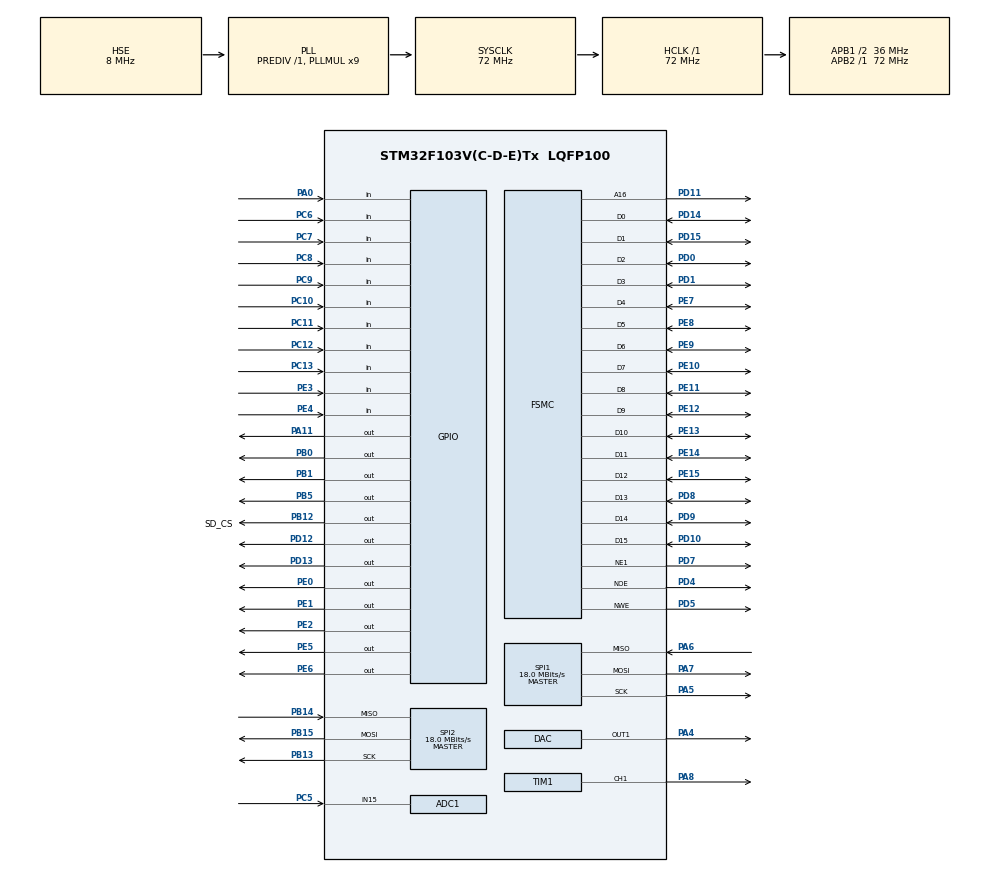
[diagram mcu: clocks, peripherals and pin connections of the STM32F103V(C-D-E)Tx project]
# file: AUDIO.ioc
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ADC1.Channel-0\#ChannelRegularConversion=ADC_CHANNEL_15
ADC1.Channel-1\#ChannelRegularConversion=ADC_CHANNEL_15
ADC1.ContinuousConvMode=ENABLE
ADC1.NbrOfConversion=2
ADC1.NbrOfConversionFlag=1
ADC1.Rank-0\#ChannelRegularConversion=1
ADC1.Rank-1\#ChannelRegularConversion=2
ADC1.SamplingTime-0\#ChannelRegularConversion=ADC_SAMPLETIME_239CYCLES_5
ADC1.SamplingTime-1\#ChannelRegularConversion=ADC_SAMPLETIME_239CYCLES_5
ADC1.master=1
DAC.DAC_Trigger=DAC_TRIGGER_T4_TRGO
DAC.DAC_Trigger2=DAC_TRIGGER_T2_TRGO
Dma.ADC1.1.Direction=DMA_PERIPH_TO_MEMORY
Dma.ADC1.1.Instance=DMA1_Channel1
Dma.ADC1.1.MemDataAlignment=DMA_MDATAALIGN_WORD
Dma.ADC1.1.MemInc=DMA_MINC_ENABLE
Dma.ADC1.1.Mode=DMA_CIRCULAR
Dma.ADC1.1.PeriphDataAlignment=DMA_PDATAALIGN_WORD
Dma.ADC1.1.PeriphInc=DMA_PINC_DISABLE
Dma.ADC1.1.Priority=DMA_PRIORITY_LOW
Dma.DAC_CH1.0.Direction=DMA_MEMORY_TO_PERIPH
Dma.DAC_CH1.0.Instance=DMA2_Channel3
Dma.DAC_CH1.0.MemDataAlignment=DMA_MDATAALIGN_HALFWORD
Dma.DAC_CH1.0.MemInc=DMA_MINC_ENABLE
Dma.DAC_CH1.0.Mode=DMA_CIRCULAR
Dma.DAC_CH1.0.PeriphDataAlignment=DMA_PDATAALIGN_HALFWORD
Dma.DAC_CH1.0.PeriphInc=DMA_PINC_DISABLE
Dma.DAC_CH1.0.Priority=DMA_PRIORITY_HIGH
Dma.Request0=DAC_CH1
Dma.Request1=ADC1
FATFS._FS_LOCK=10
FATFS._MAX_LFN=35
FATFS._MAX_SS=4096
FATFS._USE_FIND=1
FATFS._USE_LFN=1
Mcu.Family=STM32F1
Mcu.Name=STM32F103V(C-D-E)Tx
Mcu.Package=LQFP100
NVIC.DMA1_Channel1_IRQn=true\:0\:0\:false\:false\:true\:false\:true\:true
NVIC.DMA2_Channel3_IRQn=true\:0\:0\:false\:false\:true\:false\:true\:true
NVIC.PriorityGroup=NVIC_PRIORITYGROUP_4
NVIC.TIM2_IRQn=true\:0\:0\:false\:false\:true\:true\:true\:true
NVIC.TIM3_IRQn=true\:0\:0\:false\:false\:true\:true\:true\:true
OSC_IN.Mode=HSE-External-Oscillator
OSC_IN.Signal=RCC_OSC_IN
OSC_OUT.Mode=HSE-External-Oscillator
OSC_OUT.Signal=RCC_OSC_OUT
PA0-WKUP.Signal=GPIO_Input
PA11.Signal=GPIO_Output
PA13.Mode=Serial_Wire
PA13.Signal=SYS_JTMS-SWDIO
PA14.Mode=Serial_Wire
PA14.Signal=SYS_JTCK-SWCLK
PA4.Signal=COMP_DAC1_group
PA5.Mode=Full_Duplex_Master
PA5.Signal=SPI1_SCK
PA6.Mode=Full_Duplex_Master
PA6.Signal=SPI1_MISO
PA7.Mode=Full_Duplex_Master
PA7.Signal=SPI1_MOSI
PA8.Signal=S_TIM1_CH1
PB0.PinState=GPIO_PIN_SET
PB0.Signal=GPIO_Output
PB1.PinState=GPIO_PIN_SET
PB1.Signal=GPIO_Output
PB12.GPIO_Label=SD_CS
PB12.Signal=GPIO_Output
PB13.Mode=Full_Duplex_Master
PB13.Signal=SPI2_SCK
PB14.Mode=Full_Duplex_Master
PB14.Signal=SPI2_MISO
PB15.Mode=Full_Duplex_Master
PB15.Signal=SPI2_MOSI
PB5.GPIO_PuPd=GPIO_NOPULL
PB5.GPIO_Speed=GPIO_SPEED_FREQ_HIGH
PB5.PinState=GPIO_PIN_SET
PB5.Signal=GPIO_Output
PC10.GPIO_Mode=GPIO_MODE_INPUT
PC10.GPIO_PuPd=GPIO_PULLUP
PC10.Signal=GPIO_Input
PC11.GPIO_Mode=GPIO_MODE_INPUT
PC11.GPIO_PuPd=GPIO_PULLUP
PC11.Signal=GPIO_Input
PC12.GPIO_PuPd=GPIO_PULLDOWN
PC12.Signal=GPIO_Input
PC13-TAMPER-RTC.Signal=GPIO_Input
PC14-OSC32_IN.Mode=LSE-External-Oscillator
PC14-OSC32_IN.Signal=RCC_OSC32_IN
PC15-OSC32_OUT.Mode=LSE-External-Oscillator
PC15-OSC32_OUT.Signal=RCC_OSC32_OUT
PC5.Signal=ADCx_IN15
PC6.GPIO_PuPd=GPIO_PULLDOWN
PC6.Signal=GPIO_Input
PC7.GPIO_PuPd=GPIO_PULLDOWN
PC7.Signal=GPIO_Input
PC8.GPIO_Mode=GPIO_MODE_INPUT
PC8.GPIO_PuPd=GPIO_PULLUP
PC8.Signal=GPIO_Input
PC9.GPIO_Mode=GPIO_MODE_INPUT
PC9.GPIO_PuPd=GPIO_PULLUP
PC9.Signal=GPIO_Input
PD0.Mode=16b-d1
PD0.Signal=FSMC_D2
PD1.Mode=16b-d1
PD1.Signal=FSMC_D3
PD10.Mode=16b-d1
PD10.Signal=FSMC_D15
PD11.Mode=A16_1
PD11.Signal=FSMC_A16
PD12.GPIO_ModeDefaultOutputPP=GPIO_MODE_OUTPUT_PP
PD12.GPIO_PuPd=GPIO_NOPULL
PD12.GPIO_Speed=GPIO_SPEED_FREQ_HIGH
PD12.PinState=GPIO_PIN_RESET
PD12.Signal=GPIO_Output
PD13.GPIO_ModeDefaultOutputPP=GPIO_MODE_OUTPUT_PP
PD13.GPIO_PuPd=GPIO_NOPULL
PD13.GPIO_Speed=GPIO_SPEED_FREQ_HIGH
PD13.PinState=GPIO_PIN_RESET
PD13.Signal=GPIO_Output
PD14.Mode=16b-d1
PD14.Signal=FSMC_D0
PD15.Mode=16b-d1
PD15.Signal=FSMC_D1
PD4.Mode=Lcd1
PD4.Signal=FSMC_NOE
PD5.Mode=Lcd1
PD5.Signal=FSMC_NWE
PD7.Mode=NorPsramChipSelect1_1
PD7.Signal=FSMC_NE1
PD8.Mode=16b-d1
PD8.Signal=FSMC_D13
PD9.Mode=16b-d1
PD9.Signal=FSMC_D14
PE0.GPIO_ModeDefaultOutputPP=GPIO_MODE_OUTPUT_PP
PE0.GPIO_PuPd=GPIO_NOPULL
PE0.GPIO_Speed=GPIO_SPEED_FREQ_HIGH
PE0.PinState=GPIO_PIN_SET
PE0.Signal=GPIO_Output
PE1.GPIO_ModeDefaultOutputPP=GPIO_MODE_OUTPUT_PP
PE1.GPIO_PuPd=GPIO_NOPULL
PE1.GPIO_Speed=GPIO_SPEED_FREQ_HIGH
PE1.PinState=GPIO_PIN_RESET
PE1.Signal=GPIO_Output
PE10.Mode=16b-d1
PE10.Signal=FSMC_D7
PE11.Mode=16b-d1
PE11.Signal=FSMC_D8
PE12.Mode=16b-d1
PE12.Signal=FSMC_D9
PE13.Mode=16b-d1
PE13.Signal=FSMC_D10
PE14.Mode=16b-d1
PE14.Signal=FSMC_D11
PE15.Mode=16b-d1
PE15.Signal=FSMC_D12
PE2.GPIO_ModeDefaultOutputPP=GPIO_MODE_OUTPUT_PP
PE2.GPIO_PuPd=GPIO_NOPULL
PE2.GPIO_Speed=GPIO_SPEED_FREQ_HIGH
PE2.PinState=GPIO_PIN_RESET
PE2.Signal=GPIO_Output
PE3.Signal=GPIO_Input
PE4.Signal=GPIO_Input
PE5.GPIO_Speed=GPIO_SPEED_FREQ_HIGH
PE5.PinState=GPIO_PIN_SET
PE5.Signal=GPIO_Output
PE6.GPIO_Speed=GPIO_SPEED_FREQ_HIGH
PE6.PinState=GPIO_PIN_SET
PE6.Signal=GPIO_Output
PE7.Mode=16b-d1
PE7.Signal=FSMC_D4
PE8.Mode=16b-d1
PE8.Signal=FSMC_D5
PE9.Mode=16b-d1
PE9.Signal=FSMC_D6
ProjectManager.HeapSize=0x200
ProjectManager.StackSize=0x400
ProjectManager.TargetToolchain=STM32CubeIDE
RCC.ADCPresc=RCC_ADCPCLK2_DIV6
RCC.AHBFreq_Value=72000000
RCC.APB1CLKDivider=RCC_HCLK_DIV2
RCC.APB1Freq_Value=36000000
RCC.APB1TimFreq_Value=72000000
RCC.APB2Freq_Value=72000000
RCC.APB2TimFreq_Value=72000000
RCC.HCLKFreq_Value=72000000
RCC.PLLMUL=RCC_PLL_MUL9
RCC.PLLSourceVirtual=RCC_PLLSOURCE_HSE
RCC.SYSCLKFreq_VALUE=72000000
RCC.SYSCLKSource=RCC_SYSCLKSOURCE_PLLCLK
RCC.USBFreq_Value=72000000
SH.ADCx_IN15.0=ADC1_IN15,IN15
SH.COMP_DAC1_group.0=DAC_OUT1,DAC_OUT1
SH.S_TIM1_CH1.0=TIM1_CH1,PWM Generation1 CH1
SPI1.BaudRatePrescaler=SPI_BAUDRATEPRESCALER_4
SPI1.CalculateBaudRate=18.0 MBits/s
SPI1.Direction=SPI_DIRECTION_2LINES
SPI1.Mode=SPI_MODE_MASTER
SPI1.VirtualType=VM_MASTER
SPI2.CalculateBaudRate=18.0 MBits/s
SPI2.Direction=SPI_DIRECTION_2LINES
SPI2.Mode=SPI_MODE_MASTER
SPI2.VirtualType=VM_MASTER
TIM1.Channel-PWM\ Generation1\ CH1=TIM_CHANNEL_1
TIM2.Period=1000
TIM4.Period=1000
TIM4.TIM_MasterOutputTrigger=TIM_TRGO_UPDATE
TIM4.TIM_MasterSlaveMode=TIM_MASTERSLAVEMODE_ENABLE
VP_FATFS_VS_Generic.Mode=User_defined
VP_TIM1_VS_ClockSourceINT.Mode=Internal
VP_TIM2_VS_ClockSourceITR.Mode=TriggerSource_ITR3
VP_TIM2_VS_ControllerModeGated.Mode=Gated Mode
VP_TIM3_VS_ClockSourceINT.Mode=Internal
VP_TIM4_VS_ClockSourceINT.Mode=Internal
board=custom

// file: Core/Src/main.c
/* USER CODE BEGIN Header */
/**
 ******************************************************************************
 * @file           : main.c
 * @brief          : Main program body
 ******************************************************************************
 * @attention
 *
 * Copyright (c) 2022 STMicroelectronics.
 * All rights reserved.
 *
 * This software is licensed under terms that can be found in the LICENSE file
 * in the root directory of this software component.
 * If no LICENSE file comes with this software, it is provided AS-IS.
 *
 ******************************************************************************
 */
/* USER CODE END Header */
#include "main.h"
#include "adc.h"
#include "dac.h"
#include "dma.h"
#include "fatfs.h"
#include "spi.h"
#include "tim.h"
#include "gpio.h"
#include "fsmc.h"

/* USER CODE BEGIN Includes */
#include "lcd.h"
#include "rina.h"
#include "wav.h"
#include "fileBuff.h"
#include "audio.h"
#include "MPU9250.h"
#include "MPU9250_Config.h"
#include "imu.h"
#include "buttons.h"
#include "kalman.h"
#include "string.h"
#include "recording.h"

// GUI includes
#include <stdio.h>

#include "bsp_ili9341_lcd.h"
#include "bsp_xpt2046_lcd.h"
#include "gui.h"
/* USER CODE END Includes */

void SystemClock_Config(void);

/* USER CODE BEGIN 0 */

#define USEMUSIC
#define TESTMUSIC
#define IVANCODE

#define USEIMU

#ifdef TESTMUSIC
#define USEMUSIC
#endif

void error_handler(int res, const char *msg) {
	char buff[100];
	sprintf(buff, "%d %s", res, msg);
	LCD_DrawString(40, 0, buff);
	HAL_Delay(1000000);
}
void display_success(int num, const char *msg) {
	char buff[100];
	sprintf(buff, "%d %s", num, msg);
	LCD_DrawString(40, 0, buff);
}

char buff[31];
int count = 0;
int show_imu_data = 0;

//extern int numActiveDrums;

/* USER CODE END 0 */

int main(void)
{
  /* USER CODE BEGIN 1 */
// https://community.st.com/s/article/how-to-create-a-file-system-on-a-sd-card-using-stm32bubeide
	//https://github.com/spanceac/electro-drums/blob/master/drums.c
  /* USER CODE END 1 */

  /* MCU Configuration--------------------------------------------------------*/

  /* Reset of all peripherals, Initializes the Flash interface and the Systick. */
  HAL_Init();

  /* Configure the system clock */
  SystemClock_Config();

  /* Initialize all configured peripherals */
  MX_GPIO_Init();
  MX_DMA_Init();
  MX_FSMC_Init();
  MX_DAC_Init();
  MX_TIM2_Init();
  MX_FATFS_Init();
  MX_SPI2_Init();
  MX_TIM4_Init();
  MX_SPI1_Init();
  MX_TIM3_Init();
  MX_ADC1_Init();
  MX_TIM1_Init();
  /* USER CODE BEGIN 2 */

#ifdef IVANCODE
    HAL_ADC_Start_DMA(&hadc1, dac1_buff, 2);
//  	HAL_ADCEx_Calibration_Start(&hadc1);
//  	HAL_ADCEx_Calibration_Start(&hadc2);
//  	HAL_ADC_Start(&hadc1);
//  	HAL_ADC_Start(&hadc2);

	ILI9341_Init();
	ILI9341_GramScan(3);
	LCD_SetBackColor(WHITE);
	ILI9341_Clear(0, 0, 320, 240);

#else
	LCD_INIT();
#endif

#ifdef USEIMU
	imu_setActive(&imuLeft);
	MPU9250_Init();
	imu_setActive(&imuRight);
	MPU9250_Init();
	initIMUStructs();
#endif

#ifdef USEMUSIC
	FRESULT res;
	FATFS FatFs;
	FATFS BlankFs;
	DIR dir;
	FILINFO fno;

	// MOUNT THE SD CARD
	HAL_Delay(20);
	uint32_t sd_card_mount_led_last_tick = HAL_GetTick();
	while (1) {
		if (HAL_GetTick() - sd_card_mount_led_last_tick > 100) {
			HAL_GPIO_TogglePin(GPIOB, GPIO_PIN_5);
			sd_card_mount_led_last_tick = HAL_GetTick();
		}
		res = f_mount(&FatFs, "", 1);
		if (res != FR_OK) {
			sprintf(buff, "%d No sd card found!", res);
			LCD_DrawString(40, 0, buff);
			continue;
		}
		HAL_Delay(20);

		res = f_opendir(&dir, "0:");
		if (res != FR_OK) {
			sprintf(buff, "%d Cannot open drive!", res);
			LCD_DrawString(40, 0, buff);
			continue;
		}
		HAL_Delay(20);

		break;
	}
	HAL_GPIO_WritePin(GPIOB, GPIO_PIN_5, GPIO_PIN_SET);

	// LIST ALL OF THE AVAILABLE FILES
	while (1) {
		res = f_readdir(&dir, &fno);
		if (res != FR_OK || fno.fname[0] == 0)
			break;
		int len = strlen(fno.fname);
		if (
				drumMatch(fno.fname) == -1 &&
				(fno.fname[len - 1] == 'V' || fno.fname[len - 1] == 'v')
		) {
			addMusic(fno.fname);
		}
	}

//	for (int i = 0; i < musicFileNum; i++) {
//		LCD_DrawString(0, 20 + 20 * i, musicFilenames[i]);
//	}
#endif

#ifdef USEMUSIC
	audioChannelInit();
	audioInit();
#endif

	initButtons();
	addButton((Button ) {
		.eventListener = _touchScreenEvent,
		.stateRetriever = _touchScreenGet,
		.last_pressed = 0,
		.debounce_time = 10,
		.state = BTN_UP,
	});

#ifdef USEIMU
//	imu_calibrateGyro(&imuLeft);
//	imu_calibrateGyro(&imuRight);
	TIM3->PSC = (72000000 / 72000) - 1;
	TIM3->ARR = (72000 / IMU_REFRESH_RATE) - 1;
	HAL_TIM_Base_Start(&htim3);
	__HAL_TIM_ENABLE_IT(&htim3, TIM_IT_UPDATE);
#endif

#ifdef IVANCODE
	StartLogo(); // displays logo screen
	while (StartProcess())
		// waiting for the first click
		;// Wait starting signal
	LCD_Clear(0, 0, 320, 240, WHITE);
	LCD_SetBackColor(WHITE);

//	HAL_ADC_Start(&hadc1);
//	HAL_ADC_PollForConversion(&hadc1, 1000);
////	HAL_TIM_PWM_Start(&htim1, TIM_CHANNEL_1);
	MainMenuInterface();
#endif

  /* USER CODE END 2 */

  /* Infinite loop */
  /* USER CODE BEGIN WHILE */
	int last_tick = HAL_GetTick();
	int gyro_disp_tick = HAL_GetTick();

	ButtonState PA0 = BTN_UP;
	ButtonState PC13 = BTN_UP;
	ButtonState PC6 = BTN_UP;
	ButtonState PC7 = BTN_UP;
	int musicNum = 0; // temporary variable for testing purposes

	while (1) {

		if (HAL_GetTick() - last_tick > 200) {
			HAL_GPIO_TogglePin(GPIOB, GPIO_PIN_1);
			last_tick = HAL_GetTick();
//			sprintf(buff, "hit count: %5d %5d", dac1_buff[0], dac1_buff[1]);
//					LCD_DrawString(0, 0, buff);
		}

#ifdef USEIMU

		if (show_imu_data) {
			sprintf(buff, "hit count: %3d %3d %3d ", hits, count,
					imuLeft.downCount);
			LCD_DrawString(0, 0, buff);

			sprintf(buff, "accL: %6.2f,%6.2f,%6.2f", imuLeft.acc[0],
					imuLeft.acc[1], imuLeft.acc[2]);
			LCD_DrawString(0, 20, buff);
			sprintf(buff, "L%9.2f,%9.2f,%9.2f", imuLeft.gyro[0],
					imuLeft.gyro[1], imuLeft.gyro[2]);
			LCD_DrawString(0, 40, buff);
			sprintf(buff, "accR: %6.2f,%6.2f,%6.2f", imuRight.acc[0],
					imuRight.acc[1], imuRight.acc[2]);
			LCD_DrawString(0, 60, buff);
			sprintf(buff, "R%9.2f,%9.2f,%9.2f", imuRight.gyro[0],
					imuRight.gyro[1], imuRight.gyro[2]);
			LCD_DrawString(0, 80, buff);

			sprintf(buff, "%.2f,%.2f,%.2f,%.2f,%.2f,%.2f", imuLeft.gyro_offset[0], imuLeft.gyro_offset[1], imuLeft.gyro_offset[2],
					imuRight.gyro_offset[0], imuRight.gyro_offset[1], imuRight.gyro_offset[2]);
			LCD_DrawString(0, 100, buff);

			sprintf(buff, "oriL: %6.1f,%6.1f,%6.1f", imuLeft.roll,
					imuLeft.pitch, imuLeft.yaw);
			LCD_DrawString(0, 120, buff);
			sprintf(buff, "oriR: %6.2f,%6.2f,%6.2f", imuRight.roll,
					imuRight.pitch, imuRight.yaw);
			LCD_DrawString(0, 140, buff);
		}

		if (HAL_GetTick() - gyro_disp_tick > 100) {
			sprintf(buff, "imu:L(y%4.0f,a%4.0f),R(y%4.0f,a%4.0f)", imuLeft.yaw,
					imuLeft.acc[2], imuRight.yaw, imuRight.acc[2]);
			LCD_DrawString(0, 0, buff);
			gyro_disp_tick = HAL_GetTick();

			//			drumPlay(1);
		}

		if (HAL_GPIO_ReadPin(GPIOC, GPIO_PIN_6) == GPIO_PIN_SET) {
			if (PC6 == BTN_UP) {
				PC6 = BTN_DOWN;
				if (backupState) {
					imuLeft.btnPressed = 1;
				} else {
					initIMUStruct(&imuLeft);
				}
				//				imu_setActive(&imuLeft);
				//				MPU9250_Init();
			}
		} else {
			PC6 = BTN_UP;
			imuLeft.btnPressed = 0;
		}

		if (HAL_GPIO_ReadPin(GPIOC, GPIO_PIN_7) == GPIO_PIN_SET) {
			if (PC7 == BTN_UP) {
				PC7 = BTN_DOWN;
				if (backupState) {
					imuRight.btnPressed = 1;
				} else {
					initIMUStruct(&imuRight);
				}
			}
		} else {
			PC7 = BTN_UP;
			imuRight.btnPressed = 0;
		}

#endif

#ifdef TESTMUSIC

//		if (HAL_GPIO_ReadPin(GPIOA, GPIO_PIN_0) == GPIO_PIN_SET) {
//			if (PA0 == BTN_UP) {
//				PA0 = BTN_DOWN;
//				// run command
//				int res = setMusic(musicFilenames[musicNum]);
//				playMusic();
////				seekMusic(0.5);
//				musicNum = (musicNum + 1) % musicFileNum;
////				LCD_DrawString(0, 100, "PA0 down");
//
//				WavHeader *header = &(sampleFile.header);
//				sprintf(buff, "hertz: %d", header->sampleFreq);
//				LCD_DrawString(30, 140, buff);
//				sprintf(buff, "bits/sample: %d", header->bitsPerSample);
//				LCD_DrawString(30, 160, buff);
//				sprintf(buff, "channels: %d", header->channels);
//				LCD_DrawString(30, 180, buff);
//				sprintf(buff, "data: %d  ", header->dataChunkLength);
//				LCD_DrawString(30, 200, buff);
//				sprintf(buff, "debug %d %d %d     ", sampleFile.sampleCount,
//						sampleFile.fileEmpty, sampleFile.inUse);
//				LCD_DrawString(30, 220, buff);
//			}
//		} else {
//			PA0 = BTN_UP;
////			LCD_DrawString(0, 100, "PA0 up  ");
//		}
//
//		if (HAL_GPIO_ReadPin(GPIOC, GPIO_PIN_13) == GPIO_PIN_SET) {
//			if (PC13 == BTN_UP) {
//				PC13 = BTN_DOWN;
//				// run command
//				if (musicState == MUSIC_PLAYING) {
//					pauseMusic();
//				} else {
//					playMusic();
//				}
////				stopMusic();
////				seekMusic(0.5);
////				sprintf(buff, "prog: %.2f", getMusicProgress());
////				LCD_DrawString(0, 120, buff);
//			}
//		} else {
//			PC13 = BTN_UP;
////			LCD_DrawString(0, 120, "PC13 up  ");
//		}

		if (HAL_GPIO_ReadPin(GPIOA, GPIO_PIN_0) == GPIO_PIN_SET) {
			if (PA0 == BTN_UP) {
				PA0 = BTN_DOWN;
				show_imu_data = !show_imu_data;
			}
		} else {
			if (PA0 == BTN_DOWN) {
				PA0 = BTN_UP;
				if (!show_imu_data)
					DisplayInterface(GUISTACK[0]);
			}
//			LCD_DrawString(0, 100, "PA0 up  ");
		}

		if (HAL_GPIO_ReadPin(GPIOC, GPIO_PIN_13) == GPIO_PIN_SET) {
			if (PC13 == BTN_UP) {
				PC13 = BTN_DOWN;
				// run command
//				if (musicState == MUSIC_PLAYING) {
//					pauseMusic();
//				} else {
//					playMusic();
//				}
				backupState = 1;
				LCD_DrawString(0, 214, "Backup Mode Activated!");
				//				stopMusic();
				//				seekMusic(0.5);
				//				sprintf(buff, "prog: %.2f", getMusicProgress());
				//				LCD_DrawString(0, 120, buff);
			}
		} else {
			PC13 = BTN_UP;
			//			LCD_DrawString(0, 120, "PC13 up  ");
		}

//		sprintf(buff, "%d", numActiveDrums);
//		LCD_DrawString(200, 80, buff);
		drumUpdate();
		musicUpdate();
#endif

		updateButtons();
		InterfaceHandler();
		writeRecording();

		sprintf(buff, "%d, %d, %d", recStruct.toWrite, recStruct.toRead, recState);
		LCD_DrawString(220, 224, buff);
    /* USER CODE END WHILE */

	}
}

void SystemClock_Config(void)
{
  RCC_OscInitTypeDef RCC_OscInitStruct = {0};
  RCC_ClkInitTypeDef RCC_ClkInitStruct = {0};
  RCC_PeriphCLKInitTypeDef PeriphClkInit = {0};

  /** Initializes the RCC Oscillators according to the specified parameters
  * in the RCC_OscInitTypeDef structure.
  */
  RCC_OscInitStruct.OscillatorType = RCC_OSCILLATORTYPE_HSE;
  RCC_OscInitStruct.HSEState = RCC_HSE_ON;
  RCC_OscInitStruct.HSEPredivValue = RCC_HSE_PREDIV_DIV1;
  RCC_OscInitStruct.HSIState = RCC_HSI_ON;
  RCC_OscInitStruct.PLL.PLLState = RCC_PLL_ON;
  RCC_OscInitStruct.PLL.PLLSource = RCC_PLLSOURCE_HSE;
  RCC_OscInitStruct.PLL.PLLMUL = RCC_PLL_MUL9;
  if (HAL_RCC_OscConfig(&RCC_OscInitStruct) != HAL_OK)
  {
    Error_Handler();
  }

  /** Initializes the CPU, AHB and APB buses clocks
  */
  RCC_ClkInitStruct.ClockType = RCC_CLOCKTYPE_HCLK|RCC_CLOCKTYPE_SYSCLK
                              |RCC_CLOCKTYPE_PCLK1|RCC_CLOCKTYPE_PCLK2;
  RCC_ClkInitStruct.SYSCLKSource = RCC_SYSCLKSOURCE_PLLCLK;
  RCC_ClkInitStruct.AHBCLKDivider = RCC_SYSCLK_DIV1;
  RCC_ClkInitStruct.APB1CLKDivider = RCC_HCLK_DIV2;
  RCC_ClkInitStruct.APB2CLKDivider = RCC_HCLK_DIV1;

  if (HAL_RCC_ClockConfig(&RCC_ClkInitStruct, FLASH_LATENCY_2) != HAL_OK)
  {
    Error_Handler();
  }
  PeriphClkInit.PeriphClockSelection = RCC_PERIPHCLK_ADC;
  PeriphClkInit.AdcClockSelection = RCC_ADCPCLK2_DIV6;
  if (HAL_RCCEx_PeriphCLKConfig(&PeriphClkInit) != HAL_OK)
  {
    Error_Handler();
  }
}

/* USER CODE BEGIN 4 */
void HAL_TIM_PeriodElapsedCallback(TIM_HandleTypeDef *htim) {
	__disable_irq();
	if (htim->Instance == TIM2) {
#ifdef TESTMUSIC
		precomputeMix();

#endif
	} else if (htim->Instance == TIM3) {
#ifdef USEIMU
		updateIMUs();
//		count++;
#endif
	}
	__enable_irq();
}

/* USER CODE END 4 */

void Error_Handler(void)
{
	__disable_irq();
	while (1) {
	}
}
